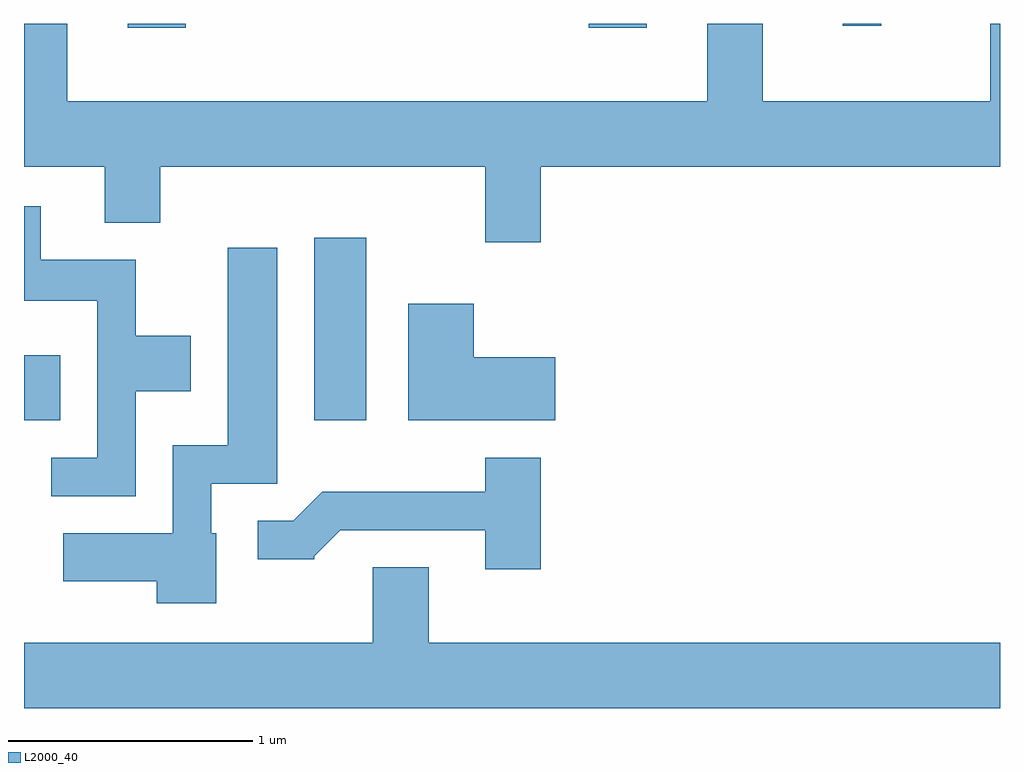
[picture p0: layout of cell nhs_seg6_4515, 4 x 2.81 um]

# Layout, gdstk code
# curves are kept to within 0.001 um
import gdstk
lib = gdstk.Library(unit=1e-6, precision=1e-09)
def R(c, l, rs):  # rectangles x0, y0, x1, y1
    for r in rs: c.add(gdstk.rectangle(r[:2], r[2:], *l))
def P(c, l, *ps):  # polygons
    for p in ps: c.add(gdstk.Polygon(p, *l))
L2000_40 = (2000, 40)

nhs_seg6_4515 = lib.new_cell('nhs_seg6_4515')
R(nhs_seg6_4515, L2000_40, [(323.611,1564.536,323.759,1564.804), (324.801,1564.536,325.014,1565.284), (324.036,1566.146,324.274,1566.162), (325.926,1566.146,326.164,1566.162), (326.966,1566.153,327.124,1566.162)])
P(nhs_seg6_4515, L2000_40, [(325.729,1565.576),(327.611,1565.576),(327.611,1566.162),(327.571,1566.162),(327.571,1565.844),(326.639,1565.844),(326.639,1566.162),(326.411,1566.162),(326.411,1565.844),(323.789,1565.844),(323.789,1566.162),(323.611,1566.162),(323.611,1565.576),(323.941,1565.576),(323.941,1565.346),(324.169,1565.346),(324.169,1565.576),(325.501,1565.576),(325.501,1565.266),(325.729,1565.266)],
  [(324.069,1564.656),(324.294,1564.656),(324.294,1564.884),(324.069,1564.884),(324.069,1565.194),(323.679,1565.194),(323.679,1565.414),(323.611,1565.414),(323.611,1565.026),(323.911,1565.026),(323.911,1564.384),(323.723,1564.384),(323.723,1564.226),(324.069,1564.226)],
  [(324.399,1564.074),(324.379,1564.074),(324.379,1564.276),(324.649,1564.276),(324.649,1565.244),(324.446,1565.244),(324.446,1564.434),(324.221,1564.434),(324.221,1564.074),(323.771,1564.074),(323.771,1563.876),(324.156,1563.876),(324.156,1563.786),(324.399,1563.786)],
  [(325.789,1564.794),(325.454,1564.794),(325.454,1565.014),(325.186,1565.014),(325.186,1564.536),(325.789,1564.536)],
  [(325.729,1564.384),(325.501,1564.384),(325.501,1564.244),(324.834,1564.244),(324.714,1564.124),(324.568,1564.124),(324.568,1563.966),(324.8,1563.966),(324.8,1563.98),(324.907,1564.086),(325.501,1564.086),(325.501,1563.926),(325.729,1563.926)],
  [(327.611,1563.624),(325.269,1563.624),(325.269,1563.934),(325.041,1563.934),(325.041,1563.624),(323.611,1563.624),(323.611,1563.356),(327.611,1563.356)])

lib.write_gds('nhs_seg6_4515.gds')
